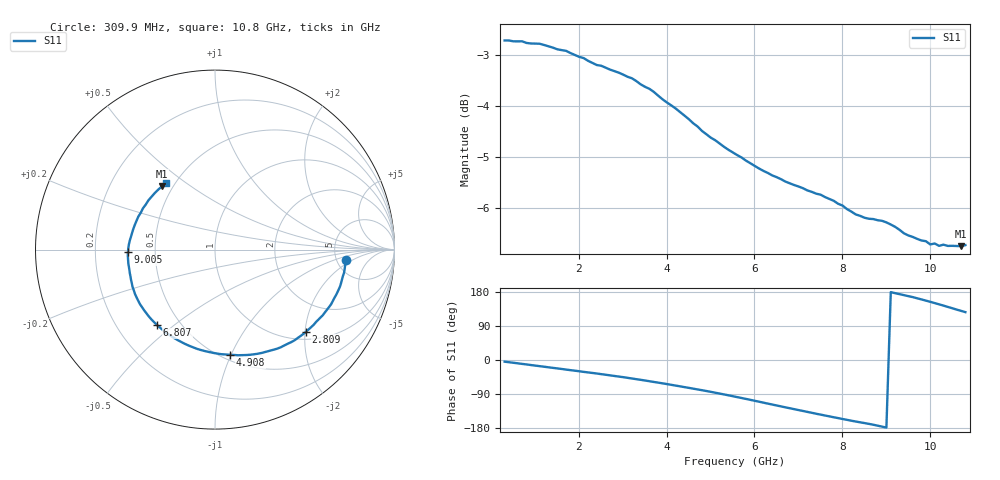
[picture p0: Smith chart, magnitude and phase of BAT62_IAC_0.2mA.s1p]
! Infineon Technologies  Discrete & RF Semiconductors
! BAT62
! IAC = 0.2 mA
! One-Port S-Parameters
# Hz  S  MA  R  50
!f  S11
!Hz  Mag  Ang
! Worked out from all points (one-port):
!   106 points, 309.9 MHz to 10.8 GHz, reference 50 ohm
!   lowest |S11| = -6.7 dB at 10.7 GHz (marker M1), VSWR 2.70, Z = 21.9 + j19.7 ohm
!   |S11| at or under -10 dB: nowhere
!   S11 on the Smith chart (normalised r, x): 309.9 MHz: 6.09, -1.49; 2.809 GHz: 1.18, -2.02; 4.908 GHz: 0.55, -0.99; 6.807 GHz: 0.37, -0.44; 9.005 GHz: 0.35, -0.01; 10.8 GHz: 0.45, +0.42
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3.0985e8  0.7319 -4.4
7.0965e8  0.7304 -10.3
1.10945e9  0.7264 -16.3
1.70915e9  0.7149 -25.3
2.30885e9  0.6957 -34.2
2.8086e9  0.6829 -42.1
3.0085e9  0.6776 -45.3
3.30835e9  0.6677 -50.6
3.70815e9  0.6516 -57.9
4.30785e9  0.6225 -69.5
4.90755e9  0.592 -81.9
5.2074e9  0.5799 -88.6
5.6072e9  0.5649 -98.0
6.10695e9  0.548 -110.1
6.50675e9  0.5374 -120.0
6.8066e9  0.53 -127.3
6.90655e9  0.528 -129.8
7.50625e9  0.5167 -144.1
7.8061e9  0.5095 -151.1
8.2059e9  0.4973 -160.2
8.70565e9  0.4889 -170.8
9.0055e9  0.4853 -178.3
9.50525e9  0.4712 168.5
9.8051e9  0.4658 159.8
1.010495e10  0.4627 150.2
1.030485e10  0.4615 143.5
1.070465e10  0.4599 129.7
1.08046e10  0.461 126.3
